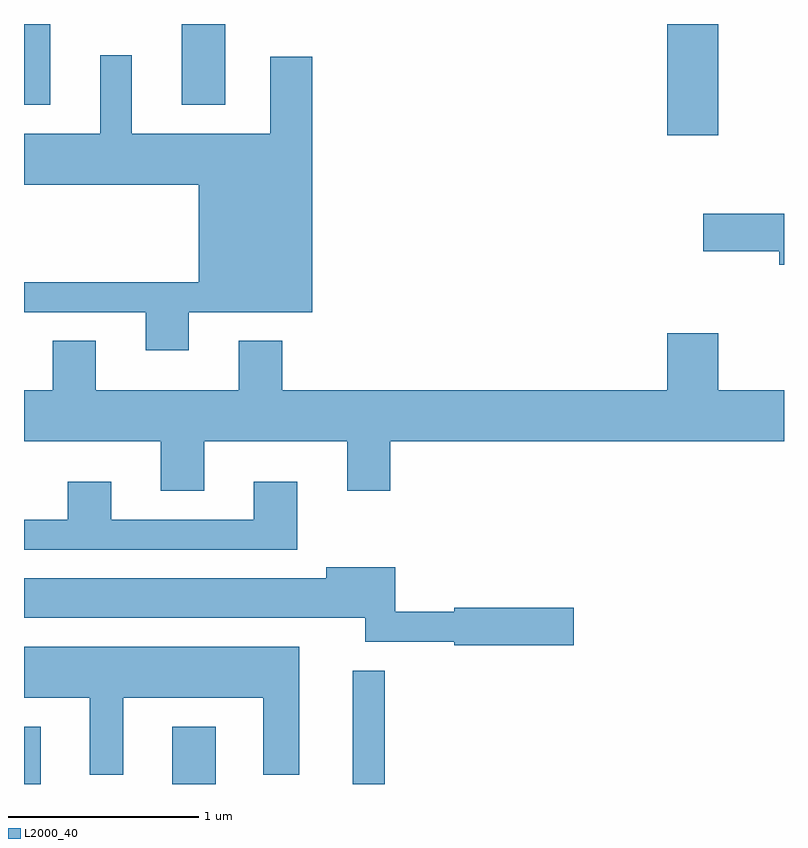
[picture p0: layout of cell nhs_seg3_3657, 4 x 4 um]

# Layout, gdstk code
import gdstk
lib = gdstk.Library(unit=1e-6, precision=1e-09)
def R(c, l, rs):  # rectangles x0, y0, x1, y1
    for r in rs: c.add(gdstk.rectangle(r[:2], r[2:], *l))
def P(c, l, *ps):  # polygons
    for p in ps: c.add(gdstk.Polygon(p, *l))
L2000_40 = (2000, 40)

nhs_seg3_3657 = lib.new_cell('nhs_seg3_3657')
R(nhs_seg3_3657, L2000_40, [(291.611,1221.892,291.699,1222.194), (292.391,1221.892,292.619,1222.194), (293.341,1221.892,293.509,1222.488), (294.996,1225.306,295.264,1225.892), (291.611,1225.466,291.749,1225.892), (292.441,1225.466,292.669,1225.892)])
P(nhs_seg3_3657, L2000_40, [(292.479,1224.376),(293.129,1224.376),(293.129,1225.719),(292.906,1225.719),(292.906,1225.314),(292.179,1225.314),(292.179,1225.728),(292.011,1225.728),(292.011,1225.314),(291.611,1225.314),(291.611,1225.046),(292.531,1225.046),(292.531,1224.534),(291.611,1224.534),(291.611,1224.376),(292.251,1224.376),(292.251,1224.176),(292.479,1224.176)],
  [(295.611,1224.894),(295.186,1224.894),(295.186,1224.696),(295.586,1224.696),(295.586,1224.626),(295.611,1224.626)],
  [(292.559,1223.696),(293.311,1223.696),(293.311,1223.436),(293.539,1223.436),(293.539,1223.696),(295.611,1223.696),(295.611,1223.964),(295.264,1223.964),(295.264,1224.264),(294.996,1224.264),(294.996,1223.964),(292.969,1223.964),(292.969,1224.224),(292.741,1224.224),(292.741,1223.964),(291.989,1223.964),(291.989,1224.224),(291.761,1224.224),(291.761,1223.964),(291.611,1223.964),(291.611,1223.696),(292.331,1223.696),(292.331,1223.436),(292.559,1223.436)],
  [(293.049,1223.484),(292.821,1223.484),(292.821,1223.284),(292.069,1223.284),(292.069,1223.484),(291.841,1223.484),(291.841,1223.284),(291.611,1223.284),(291.611,1223.126),(293.049,1223.126)],
  [(294.504,1222.819),(293.876,1222.819),(293.876,1222.799),(293.564,1222.799),(293.564,1223.034),(293.201,1223.034),(293.201,1222.974),(291.611,1222.974),(291.611,1222.766),(293.406,1222.766),(293.406,1222.641),(293.876,1222.641),(293.876,1222.621),(294.504,1222.621)],
  [(292.134,1222.346),(292.871,1222.346),(292.871,1221.941),(293.059,1221.941),(293.059,1222.614),(291.611,1222.614),(291.611,1222.346),(291.956,1222.346),(291.956,1221.941),(292.134,1221.941)])

lib.write_gds('nhs_seg3_3657.gds')
